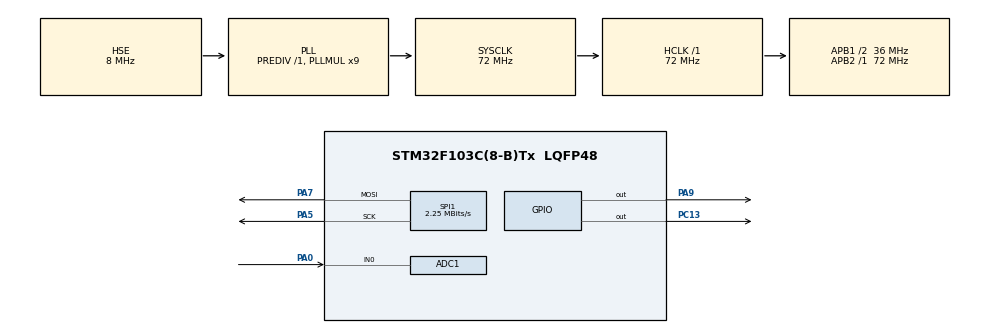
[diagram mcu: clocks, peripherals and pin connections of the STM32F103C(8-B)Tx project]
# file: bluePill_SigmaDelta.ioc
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ADC1.Channel-1\#ChannelRegularConversion=ADC_CHANNEL_0
ADC1.ExternalTrigConv=ADC_EXTERNALTRIGCONV_T3_TRGO
ADC1.NbrOfConversionFlag=1
ADC1.Rank-1\#ChannelRegularConversion=1
ADC1.SamplingTime-1\#ChannelRegularConversion=ADC_SAMPLETIME_1CYCLE_5
ADC1.master=1
Dma.ADC1.0.Direction=DMA_PERIPH_TO_MEMORY
Dma.ADC1.0.Instance=DMA1_Channel1
Dma.ADC1.0.MemDataAlignment=DMA_MDATAALIGN_HALFWORD
Dma.ADC1.0.MemInc=DMA_MINC_ENABLE
Dma.ADC1.0.Mode=DMA_CIRCULAR
Dma.ADC1.0.PeriphDataAlignment=DMA_PDATAALIGN_HALFWORD
Dma.ADC1.0.PeriphInc=DMA_PINC_DISABLE
Dma.ADC1.0.Priority=DMA_PRIORITY_LOW
Dma.Request0=ADC1
Dma.Request1=SPI1_TX
Dma.SPI1_TX.1.Direction=DMA_MEMORY_TO_PERIPH
Dma.SPI1_TX.1.Instance=DMA1_Channel3
Dma.SPI1_TX.1.MemDataAlignment=DMA_MDATAALIGN_BYTE
Dma.SPI1_TX.1.MemInc=DMA_MINC_ENABLE
Dma.SPI1_TX.1.Mode=DMA_CIRCULAR
Dma.SPI1_TX.1.PeriphDataAlignment=DMA_PDATAALIGN_BYTE
Dma.SPI1_TX.1.PeriphInc=DMA_PINC_DISABLE
Dma.SPI1_TX.1.Priority=DMA_PRIORITY_HIGH
Mcu.Family=STM32F1
Mcu.Name=STM32F103C(8-B)Tx
Mcu.Package=LQFP48
NVIC.DMA1_Channel1_IRQn=true\:0\:0\:false\:false\:true\:false\:true\:true
NVIC.DMA1_Channel3_IRQn=true\:0\:0\:false\:false\:true\:false\:true\:true
NVIC.PriorityGroup=NVIC_PRIORITYGROUP_4
NVIC.TIM3_IRQn=true\:1\:0\:true\:false\:true\:true\:true\:true
PA0-WKUP.Signal=ADCx_IN0
PA13.Mode=Trace_Asynchronous_SW
PA13.Signal=SYS_JTMS-SWDIO
PA14.Mode=Trace_Asynchronous_SW
PA14.Signal=SYS_JTCK-SWCLK
PA5.Mode=TX_Only_Simplex_Unidirect_Master
PA5.Signal=SPI1_SCK
PA7.Mode=TX_Only_Simplex_Unidirect_Master
PA7.Signal=SPI1_MOSI
PA9.Signal=GPIO_Output
PB3.Mode=Trace_Asynchronous_SW
PB3.Signal=SYS_JTDO-TRACESWO
PC13-TAMPER-RTC.Signal=GPIO_Output
PC14-OSC32_IN.Mode=LSE-External-Oscillator
PC14-OSC32_IN.Signal=RCC_OSC32_IN
PC15-OSC32_OUT.Mode=LSE-External-Oscillator
PC15-OSC32_OUT.Signal=RCC_OSC32_OUT
PD0-OSC_IN.Mode=HSE-External-Oscillator
PD0-OSC_IN.Signal=RCC_OSC_IN
PD1-OSC_OUT.Mode=HSE-External-Oscillator
PD1-OSC_OUT.Signal=RCC_OSC_OUT
ProjectManager.HeapSize=0x200
ProjectManager.StackSize=0x400
ProjectManager.TargetToolchain=STM32CubeIDE
RCC.ADCPresc=RCC_ADCPCLK2_DIV6
RCC.AHBFreq_Value=72000000
RCC.APB1CLKDivider=RCC_HCLK_DIV2
RCC.APB1Freq_Value=36000000
RCC.APB1TimFreq_Value=72000000
RCC.APB2Freq_Value=72000000
RCC.APB2TimFreq_Value=72000000
RCC.HCLKFreq_Value=72000000
RCC.PLLMUL=RCC_PLL_MUL9
RCC.PLLSourceVirtual=RCC_PLLSOURCE_HSE
RCC.SYSCLKFreq_VALUE=72000000
RCC.SYSCLKSource=RCC_SYSCLKSOURCE_PLLCLK
RCC.USBFreq_Value=48000000
RCC.USBPrescaler=RCC_USBCLKSOURCE_PLL_DIV1_5
SH.ADCx_IN0.0=ADC1_IN0,IN0
SPI1.BaudRatePrescaler=SPI_BAUDRATEPRESCALER_32
SPI1.CalculateBaudRate=2.25 MBits/s
SPI1.Direction=SPI_DIRECTION_2LINES
SPI1.Mode=SPI_MODE_MASTER
SPI1.VirtualType=VM_MASTER
TIM3.Channel-PWM\ Generation1\ No\ Output=TIM_CHANNEL_1
TIM3.Period=4095
TIM3.Prescaler=0
TIM3.TIM_MasterOutputTrigger=TIM_TRGO_UPDATE
VP_TIM3_VS_ClockSourceINT.Mode=Internal
VP_TIM3_VS_no_output1.Mode=PWM Generation1 No Output
board=custom

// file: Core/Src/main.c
/* USER CODE BEGIN Header */
/**
  ******************************************************************************
  * @file           : main.c
  * @brief          : Main program body
  ******************************************************************************
  * @attention
  *
  * Copyright (c) 2024 STMicroelectronics.
  * All rights reserved.
  *
  * This software is licensed under terms that can be found in the LICENSE file
  * in the root directory of this software component.
  * If no LICENSE file comes with this software, it is provided AS-IS.
  *
  ******************************************************************************
  */
/* USER CODE END Header */
#include "main.h"

/* USER CODE BEGIN Includes */
#include <stdbool.h>
/* USER CODE END Includes */

/* USER CODE BEGIN PTD */
struct SigmaDelta2
{
    int32_t integrator0;
    int32_t integrator1;
    uint8_t output;
};
/* USER CODE END PTD */

/* USER CODE BEGIN PD */
#define SIGMA_DELTA_BITS 12
#define SIGMA_DELTA_MAX_VALUE ((1<<SIGMA_DELTA_BITS) - 1)
#define SIGMA_DELTA_MIN_VALUE 0
#define SIGMA_DELTA_THRESHOLD (1<<(SIGMA_DELTA_BITS - 1))
#define SIGMA_DELTA_BUFFER_SIZE 1024

#define ADC_BUFFER_SIZE 2048
/* USER CODE END PD */

ADC_HandleTypeDef hadc1;
DMA_HandleTypeDef hdma_adc1;

SPI_HandleTypeDef hspi1;
DMA_HandleTypeDef hdma_spi1_tx;

TIM_HandleTypeDef htim3;

/* USER CODE BEGIN PV */
uint16_t adc_buffer[ADC_BUFFER_SIZE];
volatile uint16_t adc_buffer_pos;
uint8_t sd_buffer[SIGMA_DELTA_BUFFER_SIZE];
struct SigmaDelta2 sd2;
bool sd_process_upper;
bool sd_process_lower;
/* USER CODE END PV */

void SystemClock_Config(void);
static void MX_GPIO_Init(void);
static void MX_DMA_Init(void);
static void MX_ADC1_Init(void);
static void MX_TIM3_Init(void);
static void MX_SPI1_Init(void);
/* USER CODE BEGIN PFP */
uint8_t CalculateSigmaDeltaValue(struct SigmaDelta2* sdm, uint16_t input);
/* USER CODE END PFP */

int main(void)
{

  /* USER CODE BEGIN 1 */

  //Clearing the ADC buffer
  for(uint16_t i = 0; i < ADC_BUFFER_SIZE; i++)
  {
	  adc_buffer[i] = 0;
  }

  //Clearing the sigma delta buffer
  for(uint16_t i = 0; i < SIGMA_DELTA_BUFFER_SIZE; i++)
  {
	  sd_buffer[i] = 0;
  }

  //Clearing the Sigma Delta Modulator
  sd2.integrator0 = 0;
  sd2.integrator1 = 0;
  sd2.output = 0;

  //Clearing the flags
  sd_process_lower = false;
  sd_process_upper = false;
  /* USER CODE END 1 */

  /* MCU Configuration--------------------------------------------------------*/

  /* Reset of all peripherals, Initializes the Flash interface and the Systick. */
  HAL_Init();

  /* Configure the system clock */
  SystemClock_Config();

  /* Initialize all configured peripherals */
  MX_GPIO_Init();
  MX_DMA_Init();
  MX_ADC1_Init();
  MX_TIM3_Init();
  MX_SPI1_Init();
  /* USER CODE BEGIN 2 */

  //Setting the index of the current position to the second half
  adc_buffer_pos = ADC_BUFFER_SIZE / 2;

  //Starting the SPI module
  HAL_SPI_Transmit_DMA(&hspi1, sd_buffer, SIGMA_DELTA_BUFFER_SIZE);

  //Starting the ADC module
  HAL_ADC_Start_DMA(&hadc1, (uint32_t*)adc_buffer, ADC_BUFFER_SIZE);

  //Starting TIM3 with interrupts
  HAL_TIM_Base_Start_IT(&htim3);

  /* USER CODE END 2 */

  /* Infinite loop */
  /* USER CODE BEGIN WHILE */
  while (1)
  {
	//Processing upper half of the sigma delta's output buffer if flag was set
	if(sd_process_upper == true)
	{
		//Processing values for the upper half of the sigma delta's output buffer
		for(uint16_t i = 0; i < (SIGMA_DELTA_BUFFER_SIZE / 2); i++)
		{
			sd_buffer[i] = CalculateSigmaDeltaValue(&sd2, adc_buffer[adc_buffer_pos]) * 255;
		}

		sd_process_upper = false;
	}

	//Processing lower half of the sigma delta's output buffer if flag was set
	if(sd_process_lower == true)
	{
		//Process values for the lower half of the sigma delta's output buffer
		for(uint16_t i = (SIGMA_DELTA_BUFFER_SIZE / 2); i < SIGMA_DELTA_BUFFER_SIZE; i++)
		{
			sd_buffer[i] = CalculateSigmaDeltaValue(&sd2, adc_buffer[adc_buffer_pos]) * 255;
		}

		sd_process_lower = false;
	}
    /* USER CODE END WHILE */

  }
}

void SystemClock_Config(void)
{
  RCC_OscInitTypeDef RCC_OscInitStruct = {0};
  RCC_ClkInitTypeDef RCC_ClkInitStruct = {0};
  RCC_PeriphCLKInitTypeDef PeriphClkInit = {0};

  /** Initializes the RCC Oscillators according to the specified parameters
  * in the RCC_OscInitTypeDef structure.
  */
  RCC_OscInitStruct.OscillatorType = RCC_OSCILLATORTYPE_HSE;
  RCC_OscInitStruct.HSEState = RCC_HSE_ON;
  RCC_OscInitStruct.HSEPredivValue = RCC_HSE_PREDIV_DIV1;
  RCC_OscInitStruct.HSIState = RCC_HSI_ON;
  RCC_OscInitStruct.PLL.PLLState = RCC_PLL_ON;
  RCC_OscInitStruct.PLL.PLLSource = RCC_PLLSOURCE_HSE;
  RCC_OscInitStruct.PLL.PLLMUL = RCC_PLL_MUL9;
  if (HAL_RCC_OscConfig(&RCC_OscInitStruct) != HAL_OK)
  {
    Error_Handler();
  }

  /** Initializes the CPU, AHB and APB buses clocks
  */
  RCC_ClkInitStruct.ClockType = RCC_CLOCKTYPE_HCLK|RCC_CLOCKTYPE_SYSCLK
                              |RCC_CLOCKTYPE_PCLK1|RCC_CLOCKTYPE_PCLK2;
  RCC_ClkInitStruct.SYSCLKSource = RCC_SYSCLKSOURCE_PLLCLK;
  RCC_ClkInitStruct.AHBCLKDivider = RCC_SYSCLK_DIV1;
  RCC_ClkInitStruct.APB1CLKDivider = RCC_HCLK_DIV2;
  RCC_ClkInitStruct.APB2CLKDivider = RCC_HCLK_DIV1;

  if (HAL_RCC_ClockConfig(&RCC_ClkInitStruct, FLASH_LATENCY_2) != HAL_OK)
  {
    Error_Handler();
  }
  PeriphClkInit.PeriphClockSelection = RCC_PERIPHCLK_ADC;
  PeriphClkInit.AdcClockSelection = RCC_ADCPCLK2_DIV6;
  if (HAL_RCCEx_PeriphCLKConfig(&PeriphClkInit) != HAL_OK)
  {
    Error_Handler();
  }
}

static void MX_ADC1_Init(void)
{

  ADC_ChannelConfTypeDef sConfig = {0};

  /** Common config
  */
  hadc1.Instance = ADC1;
  hadc1.Init.ScanConvMode = ADC_SCAN_DISABLE;
  hadc1.Init.ContinuousConvMode = DISABLE;
  hadc1.Init.DiscontinuousConvMode = DISABLE;
  hadc1.Init.ExternalTrigConv = ADC_EXTERNALTRIGCONV_T3_TRGO;
  hadc1.Init.DataAlign = ADC_DATAALIGN_RIGHT;
  hadc1.Init.NbrOfConversion = 1;
  if (HAL_ADC_Init(&hadc1) != HAL_OK)
  {
    Error_Handler();
  }

  /** Configure Regular Channel
  */
  sConfig.Channel = ADC_CHANNEL_0;
  sConfig.Rank = ADC_REGULAR_RANK_1;
  sConfig.SamplingTime = ADC_SAMPLETIME_1CYCLE_5;
  if (HAL_ADC_ConfigChannel(&hadc1, &sConfig) != HAL_OK)
  {
    Error_Handler();
  }

}

static void MX_SPI1_Init(void)
{

  /* SPI1 parameter configuration*/
  hspi1.Instance = SPI1;
  hspi1.Init.Mode = SPI_MODE_MASTER;
  hspi1.Init.Direction = SPI_DIRECTION_2LINES;
  hspi1.Init.DataSize = SPI_DATASIZE_8BIT;
  hspi1.Init.CLKPolarity = SPI_POLARITY_LOW;
  hspi1.Init.CLKPhase = SPI_PHASE_1EDGE;
  hspi1.Init.NSS = SPI_NSS_SOFT;
  hspi1.Init.BaudRatePrescaler = SPI_BAUDRATEPRESCALER_32;
  hspi1.Init.FirstBit = SPI_FIRSTBIT_MSB;
  hspi1.Init.TIMode = SPI_TIMODE_DISABLE;
  hspi1.Init.CRCCalculation = SPI_CRCCALCULATION_DISABLE;
  hspi1.Init.CRCPolynomial = 10;
  if (HAL_SPI_Init(&hspi1) != HAL_OK)
  {
    Error_Handler();
  }

}

static void MX_TIM3_Init(void)
{

  TIM_ClockConfigTypeDef sClockSourceConfig = {0};
  TIM_MasterConfigTypeDef sMasterConfig = {0};
  TIM_OC_InitTypeDef sConfigOC = {0};

  htim3.Instance = TIM3;
  htim3.Init.Prescaler = 0;
  htim3.Init.CounterMode = TIM_COUNTERMODE_UP;
  htim3.Init.Period = 4095;
  htim3.Init.ClockDivision = TIM_CLOCKDIVISION_DIV1;
  htim3.Init.AutoReloadPreload = TIM_AUTORELOAD_PRELOAD_DISABLE;
  if (HAL_TIM_Base_Init(&htim3) != HAL_OK)
  {
    Error_Handler();
  }
  sClockSourceConfig.ClockSource = TIM_CLOCKSOURCE_INTERNAL;
  if (HAL_TIM_ConfigClockSource(&htim3, &sClockSourceConfig) != HAL_OK)
  {
    Error_Handler();
  }
  if (HAL_TIM_PWM_Init(&htim3) != HAL_OK)
  {
    Error_Handler();
  }
  sMasterConfig.MasterOutputTrigger = TIM_TRGO_UPDATE;
  sMasterConfig.MasterSlaveMode = TIM_MASTERSLAVEMODE_DISABLE;
  if (HAL_TIMEx_MasterConfigSynchronization(&htim3, &sMasterConfig) != HAL_OK)
  {
    Error_Handler();
  }
  sConfigOC.OCMode = TIM_OCMODE_PWM1;
  sConfigOC.Pulse = 0;
  sConfigOC.OCPolarity = TIM_OCPOLARITY_HIGH;
  sConfigOC.OCFastMode = TIM_OCFAST_DISABLE;
  if (HAL_TIM_PWM_ConfigChannel(&htim3, &sConfigOC, TIM_CHANNEL_1) != HAL_OK)
  {
    Error_Handler();
  }

}

static void MX_DMA_Init(void)
{

  /* DMA controller clock enable */
  __HAL_RCC_DMA1_CLK_ENABLE();

  /* DMA interrupt init */
  /* DMA1_Channel1_IRQn interrupt configuration */
  HAL_NVIC_SetPriority(DMA1_Channel1_IRQn, 0, 0);
  HAL_NVIC_EnableIRQ(DMA1_Channel1_IRQn);
  /* DMA1_Channel3_IRQn interrupt configuration */
  HAL_NVIC_SetPriority(DMA1_Channel3_IRQn, 0, 0);
  HAL_NVIC_EnableIRQ(DMA1_Channel3_IRQn);

}

static void MX_GPIO_Init(void)
{
  GPIO_InitTypeDef GPIO_InitStruct = {0};

  /* GPIO Ports Clock Enable */
  __HAL_RCC_GPIOC_CLK_ENABLE();
  __HAL_RCC_GPIOD_CLK_ENABLE();
  __HAL_RCC_GPIOA_CLK_ENABLE();
  __HAL_RCC_GPIOB_CLK_ENABLE();

  /*Configure GPIO pin Output Level */
  HAL_GPIO_WritePin(GPIOC, GPIO_PIN_13, GPIO_PIN_RESET);

  /*Configure GPIO pin Output Level */
  HAL_GPIO_WritePin(GPIOA, GPIO_PIN_9, GPIO_PIN_RESET);

  /*Configure GPIO pin : PC13 */
  GPIO_InitStruct.Pin = GPIO_PIN_13;
  GPIO_InitStruct.Mode = GPIO_MODE_OUTPUT_PP;
  GPIO_InitStruct.Pull = GPIO_NOPULL;
  GPIO_InitStruct.Speed = GPIO_SPEED_FREQ_LOW;
  HAL_GPIO_Init(GPIOC, &GPIO_InitStruct);

  /*Configure GPIO pin : PA9 */
  GPIO_InitStruct.Pin = GPIO_PIN_9;
  GPIO_InitStruct.Mode = GPIO_MODE_OUTPUT_PP;
  GPIO_InitStruct.Pull = GPIO_NOPULL;
  GPIO_InitStruct.Speed = GPIO_SPEED_FREQ_LOW;
  HAL_GPIO_Init(GPIOA, &GPIO_InitStruct);

}

/* USER CODE BEGIN 4 */
uint8_t CalculateSigmaDeltaValue(struct SigmaDelta2* sdm, uint16_t input)
{
    //Calculating the feedback based on the previous output
    uint16_t feedback = (sdm->output == 1) ? SIGMA_DELTA_MAX_VALUE : SIGMA_DELTA_MIN_VALUE;

    //Calculating the new values of the first and second integrator
    sdm->integrator0 = sdm->integrator0 - feedback + input;
    sdm->integrator1 = sdm->integrator1 - feedback + sdm->integrator0;

    //Calculating the output
    sdm->output = (sdm->integrator1 >= SIGMA_DELTA_THRESHOLD) ? 1 : 0;

    //Returning the output
    return sdm->output;
}

void HAL_SPI_TxHalfCpltCallback(SPI_HandleTypeDef * hspi)
{
	sd_process_upper = true;
}

void HAL_SPI_TxCpltCallback(SPI_HandleTypeDef * hspi)
{
	sd_process_lower = true;
}

void HAL_TIM_PeriodElapsedCallback(TIM_HandleTypeDef* htim)
{
	//Incrementing the position of the current sample
	adc_buffer_pos = adc_buffer_pos + 1;

	//Wrapping around if end of the ADC buffer was reached
	if(adc_buffer_pos >= ADC_BUFFER_SIZE)
	{
		adc_buffer_pos = 0;
	}

	//Toggling pin for verification reasons
	//HAL_GPIO_TogglePin(GPIOA, GPIO_PIN_9);
}

void HAL_ADC_ConvHalfCpltCallback(ADC_HandleTypeDef* hadc)
{

}

void HAL_ADC_ConvCpltCallback(ADC_HandleTypeDef* hadc)
{

}

/* USER CODE END 4 */

void Error_Handler(void)
{
  __disable_irq();
  while (1)
  {
  }
}
